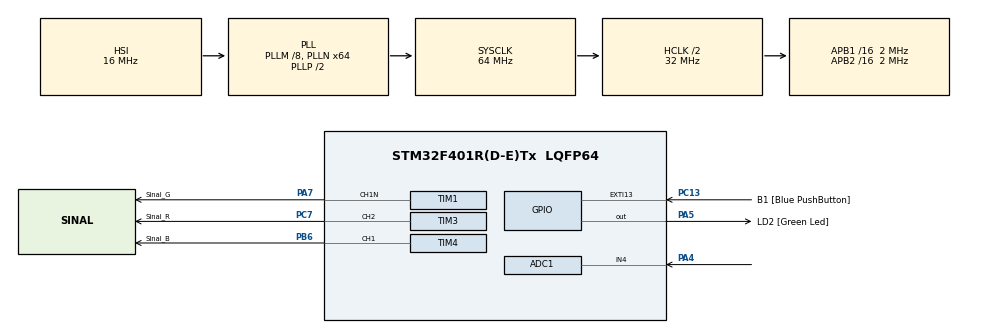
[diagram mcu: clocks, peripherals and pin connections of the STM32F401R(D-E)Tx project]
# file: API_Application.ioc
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ADC1.Channel-0\#ChannelRegularConversion=ADC_CHANNEL_4
ADC1.ClockPrescaler=ADC_CLOCK_SYNC_PCLK_DIV2
ADC1.NbrOfConversionFlag=1
ADC1.Rank-0\#ChannelRegularConversion=1
ADC1.SamplingTime-0\#ChannelRegularConversion=ADC_SAMPLETIME_3CYCLES
ADC1.master=1
Mcu.Family=STM32F4
Mcu.Name=STM32F401R(D-E)Tx
Mcu.Package=LQFP64
NVIC.PriorityGroup=NVIC_PRIORITYGROUP_0
PA13.GPIO_Label=TMS
PA13.Mode=Serial_Wire
PA13.Signal=SYS_JTMS-SWDIO
PA14.GPIO_Label=TCK
PA14.Mode=Serial_Wire
PA14.Signal=SYS_JTCK-SWCLK
PA3.GPIO_Label=USART_RX
PA3.GPIO_Mode=GPIO_MODE_AF_PP
PA3.GPIO_PuPd=GPIO_NOPULL
PA3.GPIO_Speed=GPIO_SPEED_FREQ_LOW
PA3.Signal=USART2_RX
PA4.Signal=ADCx_IN4
PA5.GPIO_Label=LD2 [Green Led]
PA5.GPIO_Mode=GPIO_MODE_OUTPUT_PP
PA5.GPIO_PuPd=GPIO_NOPULL
PA5.GPIO_Speed=GPIO_SPEED_FREQ_LOW
PA5.Signal=GPIO_Output
PA7.GPIO_Label=Sinal_G
PA7.Mode=PWM Generation1 CH1N
PA7.Signal=TIM1_CH1N
PB3.GPIO_Label=SWO
PB3.Signal=SYS_JTDO-SWO
PB6.GPIO_Label=Sinal_B
PB6.Signal=S_TIM4_CH1
PC13-ANTI_TAMP.GPIO_Label=B1 [Blue PushButton]
PC13-ANTI_TAMP.GPIO_ModeDefaultEXTI=GPIO_MODE_IT_FALLING
PC13-ANTI_TAMP.GPIO_PuPd=GPIO_NOPULL
PC13-ANTI_TAMP.Signal=GPXTI13
PC14-OSC32_IN.Mode=LSE-External-Oscillator
PC14-OSC32_IN.Signal=RCC_OSC32_IN
PC15-OSC32_OUT.Mode=LSE-External-Oscillator
PC15-OSC32_OUT.Signal=RCC_OSC32_OUT
PC7.GPIO_Label=Sinal_R
PC7.Signal=S_TIM3_CH2
PH0\ -\ OSC_IN.Mode=HSE-External-Clock-Source
PH0\ -\ OSC_IN.Signal=RCC_OSC_IN
PH1\ -\ OSC_OUT.Mode=HSE-External-Clock-Source
PH1\ -\ OSC_OUT.Signal=RCC_OSC_OUT
ProjectManager.HeapSize=0x200
ProjectManager.StackSize=0x400
ProjectManager.TargetToolchain=SW4STM32
RCC.48MHZClocksFreq_Value=18285714.285714287
RCC.AHBCLKDivider=RCC_SYSCLK_DIV2
RCC.AHBFreq_Value=32000000
RCC.APB1CLKDivider=RCC_HCLK_DIV16
RCC.APB1Freq_Value=2000000
RCC.APB1TimFreq_Value=4000000
RCC.APB2CLKDivider=RCC_HCLK_DIV16
RCC.APB2Freq_Value=2000000
RCC.APB2TimFreq_Value=4000000
RCC.CortexFreq_Value=32000000
RCC.HCLKFreq_Value=32000000
RCC.HSE_VALUE=8000000
RCC.HSI_VALUE=16000000
RCC.PLLM=8
RCC.PLLN=64
RCC.PLLQ=7
RCC.SYSCLKFreq_VALUE=64000000
RCC.SYSCLKSource=RCC_SYSCLKSOURCE_PLLCLK
RCC.VCOOutputFreq_Value=128000000
SH.ADCx_IN4.0=ADC1_IN4,IN4
SH.S_TIM3_CH2.0=TIM3_CH2,PWM Generation2 CH2
SH.S_TIM4_CH1.0=TIM4_CH1,PWM Generation1 CH1
TIM1.Channel-PWM\ Generation1\ CH1N=TIM_CHANNEL_1
TIM1.Period=125
TIM1.Prescaler=63
TIM1.Pulse-PWM\ Generation1\ CH1N=62
TIM3.Channel-PWM\ Generation2\ CH2=TIM_CHANNEL_2
TIM3.Period=125
TIM3.Prescaler=63
TIM3.Pulse-PWM\ Generation2\ CH2=62
TIM4.Channel-PWM\ Generation1\ CH1=TIM_CHANNEL_1
TIM4.Period=125
TIM4.Prescaler=63
TIM4.Pulse-PWM\ Generation1\ CH1=62
VP_TIM1_VS_ClockSourceINT.Mode=Internal
VP_TIM3_VS_ClockSourceINT.Mode=Internal
VP_TIM4_VS_ClockSourceINT.Mode=Internal
board=NUCLEO-F401RE

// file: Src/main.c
/* USER CODE BEGIN Header */
/**
  ******************************************************************************
  * @file           : main.c
  * @brief          : Main program body
  ******************************************************************************
  * @attention
  *
  * <h2><center>&copy; Copyright (c) 2020 STMicroelectronics.
  * All rights reserved.</center></h2>
  *
  * This software component is licensed by ST under BSD 3-Clause license,
  * the "License"; You may not use this file except in compliance with the
  * License. You may obtain a copy of the License at:
  *                        opensource.org/licenses/BSD-3-Clause
  *
  ******************************************************************************
  * This application uses an RGB LED (common cathode) and a LM35D sensor,
  * with STM32F4 microcontroller.
  *
  * Pinout:
  * A4 - LM35D
  * A7 - LED green
  * B6 - LED blue
  * C7 - LED red
  *
  */
/* USER CODE END Header */

#include "main.h"

/* USER CODE BEGIN Includes */
#include "LM35_API.h"
/* USER CODE END Includes */

ADC_HandleTypeDef hadc1;

TIM_HandleTypeDef htim1;
TIM_HandleTypeDef htim3;
TIM_HandleTypeDef htim4;

void SystemClock_Config(void);
static void MX_GPIO_Init(void);
static void MX_ADC1_Init(void);
static void MX_TIM1_Init(void);
static void MX_TIM3_Init(void);
static void MX_TIM4_Init(void);
/* USER CODE BEGIN PFP */
static void setPWM(TIM_HandleTypeDef, uint32_t, uint16_t, uint16_t);
static void setPWMG(TIM_HandleTypeDef, uint32_t, uint16_t, uint16_t);
/* USER CODE END PFP */

/* USER CODE BEGIN 0 */
float temp_init;
float temp;
/* USER CODE END 0 */

int main(void)
{

  /* MCU Configuration--------------------------------------------------------*/

  /* Reset of all peripherals, Initializes the Flash interface and the Systick. */
  HAL_Init();

  /* Configure the system clock */
  SystemClock_Config();

  /* Initialize all configured peripherals */
  MX_GPIO_Init();
  MX_ADC1_Init();
  MX_TIM1_Init();
  MX_TIM3_Init();
  MX_TIM4_Init();
  /* USER CODE BEGIN 2 */
  Init_API(&hadc1);
  // Read the initial temperature
  temp_init = Return_Temperature();
  /* USER CODE END 2 */

  /* Infinite loop */
  while (1)
  {

    /* USER CODE BEGIN 3 */
	  // Read the temperature
	  temp = Return_Temperature();
	  // If the current temperature is near the initial turn the RGB led green
	  if(Temperature_InGap(temp_init - 1, temp_init + 1) == 1){
	  		  setPWM(htim3, TIM_CHANNEL_2, 125, 0);
	  		  setPWM(htim4, TIM_CHANNEL_1, 125, 0);
	  		  setPWMG(htim1, TIM_CHANNEL_1, 125, 125);
	  }
	  // If the current temperature is lower than the initial turn the RGB led blue
	  else if(Temperature_LT(temp_init - 1)){
		  setPWM(htim3, TIM_CHANNEL_2, 125, 0);
		  setPWM(htim4, TIM_CHANNEL_1, 125, 125);
		  setPWMG(htim1, TIM_CHANNEL_1, 125, 0);
	  }
	  // If the current temperature is greater than the initial turn the RGB led red
	  else if(Temperature_GT(temp_init + 1)){
		  setPWM(htim3, TIM_CHANNEL_2, 125, 125);
		  setPWM(htim4, TIM_CHANNEL_1, 125, 0);
		  setPWMG(htim1, TIM_CHANNEL_1, 125, 0);
	  }
  /* USER CODE END 3 */
}

void SystemClock_Config(void)
{
  RCC_OscInitTypeDef RCC_OscInitStruct = {0};
  RCC_ClkInitTypeDef RCC_ClkInitStruct = {0};

  /** Configure the main internal regulator output voltage
  */
  __HAL_RCC_PWR_CLK_ENABLE();
  __HAL_PWR_VOLTAGESCALING_CONFIG(PWR_REGULATOR_VOLTAGE_SCALE2);
  /** Initializes the CPU, AHB and APB busses clocks
  */
  RCC_OscInitStruct.OscillatorType = RCC_OSCILLATORTYPE_HSI;
  RCC_OscInitStruct.HSIState = RCC_HSI_ON;
  RCC_OscInitStruct.HSICalibrationValue = RCC_HSICALIBRATION_DEFAULT;
  RCC_OscInitStruct.PLL.PLLState = RCC_PLL_ON;
  RCC_OscInitStruct.PLL.PLLSource = RCC_PLLSOURCE_HSI;
  RCC_OscInitStruct.PLL.PLLM = 8;
  RCC_OscInitStruct.PLL.PLLN = 64;
  RCC_OscInitStruct.PLL.PLLP = RCC_PLLP_DIV2;
  RCC_OscInitStruct.PLL.PLLQ = 7;
  if (HAL_RCC_OscConfig(&RCC_OscInitStruct) != HAL_OK)
  {
    Error_Handler();
  }
  /** Initializes the CPU, AHB and APB busses clocks
  */
  RCC_ClkInitStruct.ClockType = RCC_CLOCKTYPE_HCLK|RCC_CLOCKTYPE_SYSCLK
                              |RCC_CLOCKTYPE_PCLK1|RCC_CLOCKTYPE_PCLK2;
  RCC_ClkInitStruct.SYSCLKSource = RCC_SYSCLKSOURCE_PLLCLK;
  RCC_ClkInitStruct.AHBCLKDivider = RCC_SYSCLK_DIV2;
  RCC_ClkInitStruct.APB1CLKDivider = RCC_HCLK_DIV16;
  RCC_ClkInitStruct.APB2CLKDivider = RCC_HCLK_DIV16;

  if (HAL_RCC_ClockConfig(&RCC_ClkInitStruct, FLASH_LATENCY_1) != HAL_OK)
  {
    Error_Handler();
  }
}

static void MX_ADC1_Init(void)
{

  ADC_ChannelConfTypeDef sConfig = {0};

  /** Configure the global features of the ADC (Clock, Resolution, Data Alignment and number of conversion)
  */
  hadc1.Instance = ADC1;
  hadc1.Init.ClockPrescaler = ADC_CLOCK_SYNC_PCLK_DIV2;
  hadc1.Init.Resolution = ADC_RESOLUTION_12B;
  hadc1.Init.ScanConvMode = DISABLE;
  hadc1.Init.ContinuousConvMode = DISABLE;
  hadc1.Init.DiscontinuousConvMode = DISABLE;
  hadc1.Init.ExternalTrigConvEdge = ADC_EXTERNALTRIGCONVEDGE_NONE;
  hadc1.Init.ExternalTrigConv = ADC_SOFTWARE_START;
  hadc1.Init.DataAlign = ADC_DATAALIGN_RIGHT;
  hadc1.Init.NbrOfConversion = 1;
  hadc1.Init.DMAContinuousRequests = DISABLE;
  hadc1.Init.EOCSelection = ADC_EOC_SINGLE_CONV;
  if (HAL_ADC_Init(&hadc1) != HAL_OK)
  {
    Error_Handler();
  }
  /** Configure for the selected ADC regular channel its corresponding rank in the sequencer and its sample time.
  */
  sConfig.Channel = ADC_CHANNEL_4;
  sConfig.Rank = 1;
  sConfig.SamplingTime = ADC_SAMPLETIME_3CYCLES;
  if (HAL_ADC_ConfigChannel(&hadc1, &sConfig) != HAL_OK)
  {
    Error_Handler();
  }

}

static void MX_TIM1_Init(void)
{

  TIM_ClockConfigTypeDef sClockSourceConfig = {0};
  TIM_MasterConfigTypeDef sMasterConfig = {0};
  TIM_OC_InitTypeDef sConfigOC = {0};
  TIM_BreakDeadTimeConfigTypeDef sBreakDeadTimeConfig = {0};

  htim1.Instance = TIM1;
  htim1.Init.Prescaler = 63;
  htim1.Init.CounterMode = TIM_COUNTERMODE_UP;
  htim1.Init.Period = 125;
  htim1.Init.ClockDivision = TIM_CLOCKDIVISION_DIV1;
  htim1.Init.RepetitionCounter = 0;
  htim1.Init.AutoReloadPreload = TIM_AUTORELOAD_PRELOAD_DISABLE;
  if (HAL_TIM_Base_Init(&htim1) != HAL_OK)
  {
    Error_Handler();
  }
  sClockSourceConfig.ClockSource = TIM_CLOCKSOURCE_INTERNAL;
  if (HAL_TIM_ConfigClockSource(&htim1, &sClockSourceConfig) != HAL_OK)
  {
    Error_Handler();
  }
  if (HAL_TIM_PWM_Init(&htim1) != HAL_OK)
  {
    Error_Handler();
  }
  sMasterConfig.MasterOutputTrigger = TIM_TRGO_RESET;
  sMasterConfig.MasterSlaveMode = TIM_MASTERSLAVEMODE_DISABLE;
  if (HAL_TIMEx_MasterConfigSynchronization(&htim1, &sMasterConfig) != HAL_OK)
  {
    Error_Handler();
  }
  sConfigOC.OCMode = TIM_OCMODE_PWM1;
  sConfigOC.Pulse = 62;
  sConfigOC.OCPolarity = TIM_OCPOLARITY_HIGH;
  sConfigOC.OCNPolarity = TIM_OCNPOLARITY_HIGH;
  sConfigOC.OCFastMode = TIM_OCFAST_DISABLE;
  sConfigOC.OCIdleState = TIM_OCIDLESTATE_RESET;
  sConfigOC.OCNIdleState = TIM_OCNIDLESTATE_RESET;
  if (HAL_TIM_PWM_ConfigChannel(&htim1, &sConfigOC, TIM_CHANNEL_1) != HAL_OK)
  {
    Error_Handler();
  }
  sBreakDeadTimeConfig.OffStateRunMode = TIM_OSSR_DISABLE;
  sBreakDeadTimeConfig.OffStateIDLEMode = TIM_OSSI_DISABLE;
  sBreakDeadTimeConfig.LockLevel = TIM_LOCKLEVEL_OFF;
  sBreakDeadTimeConfig.DeadTime = 0;
  sBreakDeadTimeConfig.BreakState = TIM_BREAK_DISABLE;
  sBreakDeadTimeConfig.BreakPolarity = TIM_BREAKPOLARITY_HIGH;
  sBreakDeadTimeConfig.AutomaticOutput = TIM_AUTOMATICOUTPUT_DISABLE;
  if (HAL_TIMEx_ConfigBreakDeadTime(&htim1, &sBreakDeadTimeConfig) != HAL_OK)
  {
    Error_Handler();
  }
  HAL_TIM_MspPostInit(&htim1);

}

static void MX_TIM3_Init(void)
{

  TIM_ClockConfigTypeDef sClockSourceConfig = {0};
  TIM_MasterConfigTypeDef sMasterConfig = {0};
  TIM_OC_InitTypeDef sConfigOC = {0};

  htim3.Instance = TIM3;
  htim3.Init.Prescaler = 63;
  htim3.Init.CounterMode = TIM_COUNTERMODE_UP;
  htim3.Init.Period = 125;
  htim3.Init.ClockDivision = TIM_CLOCKDIVISION_DIV1;
  htim3.Init.AutoReloadPreload = TIM_AUTORELOAD_PRELOAD_DISABLE;
  if (HAL_TIM_Base_Init(&htim3) != HAL_OK)
  {
    Error_Handler();
  }
  sClockSourceConfig.ClockSource = TIM_CLOCKSOURCE_INTERNAL;
  if (HAL_TIM_ConfigClockSource(&htim3, &sClockSourceConfig) != HAL_OK)
  {
    Error_Handler();
  }
  if (HAL_TIM_PWM_Init(&htim3) != HAL_OK)
  {
    Error_Handler();
  }
  sMasterConfig.MasterOutputTrigger = TIM_TRGO_RESET;
  sMasterConfig.MasterSlaveMode = TIM_MASTERSLAVEMODE_DISABLE;
  if (HAL_TIMEx_MasterConfigSynchronization(&htim3, &sMasterConfig) != HAL_OK)
  {
    Error_Handler();
  }
  sConfigOC.OCMode = TIM_OCMODE_PWM1;
  sConfigOC.Pulse = 62;
  sConfigOC.OCPolarity = TIM_OCPOLARITY_HIGH;
  sConfigOC.OCFastMode = TIM_OCFAST_DISABLE;
  if (HAL_TIM_PWM_ConfigChannel(&htim3, &sConfigOC, TIM_CHANNEL_2) != HAL_OK)
  {
    Error_Handler();
  }
  HAL_TIM_MspPostInit(&htim3);

}

static void MX_TIM4_Init(void)
{

  TIM_ClockConfigTypeDef sClockSourceConfig = {0};
  TIM_MasterConfigTypeDef sMasterConfig = {0};
  TIM_OC_InitTypeDef sConfigOC = {0};

  htim4.Instance = TIM4;
  htim4.Init.Prescaler = 63;
  htim4.Init.CounterMode = TIM_COUNTERMODE_UP;
  htim4.Init.Period = 125;
  htim4.Init.ClockDivision = TIM_CLOCKDIVISION_DIV1;
  htim4.Init.AutoReloadPreload = TIM_AUTORELOAD_PRELOAD_DISABLE;
  if (HAL_TIM_Base_Init(&htim4) != HAL_OK)
  {
    Error_Handler();
  }
  sClockSourceConfig.ClockSource = TIM_CLOCKSOURCE_INTERNAL;
  if (HAL_TIM_ConfigClockSource(&htim4, &sClockSourceConfig) != HAL_OK)
  {
    Error_Handler();
  }
  if (HAL_TIM_PWM_Init(&htim4) != HAL_OK)
  {
    Error_Handler();
  }
  sMasterConfig.MasterOutputTrigger = TIM_TRGO_RESET;
  sMasterConfig.MasterSlaveMode = TIM_MASTERSLAVEMODE_DISABLE;
  if (HAL_TIMEx_MasterConfigSynchronization(&htim4, &sMasterConfig) != HAL_OK)
  {
    Error_Handler();
  }
  sConfigOC.OCMode = TIM_OCMODE_PWM1;
  sConfigOC.Pulse = 62;
  sConfigOC.OCPolarity = TIM_OCPOLARITY_HIGH;
  sConfigOC.OCFastMode = TIM_OCFAST_DISABLE;
  if (HAL_TIM_PWM_ConfigChannel(&htim4, &sConfigOC, TIM_CHANNEL_1) != HAL_OK)
  {
    Error_Handler();
  }
  HAL_TIM_MspPostInit(&htim4);

}

static void MX_GPIO_Init(void)
{
  GPIO_InitTypeDef GPIO_InitStruct = {0};

  /* GPIO Ports Clock Enable */
  __HAL_RCC_GPIOC_CLK_ENABLE();
  __HAL_RCC_GPIOH_CLK_ENABLE();
  __HAL_RCC_GPIOA_CLK_ENABLE();
  __HAL_RCC_GPIOB_CLK_ENABLE();

  /*Configure GPIO pin Output Level */
  HAL_GPIO_WritePin(LD2_GPIO_Port, LD2_Pin, GPIO_PIN_RESET);

  /*Configure GPIO pin : B1_Pin */
  GPIO_InitStruct.Pin = B1_Pin;
  GPIO_InitStruct.Mode = GPIO_MODE_IT_FALLING;
  GPIO_InitStruct.Pull = GPIO_NOPULL;
  HAL_GPIO_Init(B1_GPIO_Port, &GPIO_InitStruct);

  /*Configure GPIO pin : USART_RX_Pin */
  GPIO_InitStruct.Pin = USART_RX_Pin;
  GPIO_InitStruct.Mode = GPIO_MODE_AF_PP;
  GPIO_InitStruct.Pull = GPIO_NOPULL;
  GPIO_InitStruct.Speed = GPIO_SPEED_FREQ_LOW;
  GPIO_InitStruct.Alternate = GPIO_AF7_USART2;
  HAL_GPIO_Init(USART_RX_GPIO_Port, &GPIO_InitStruct);

  /*Configure GPIO pin : LD2_Pin */
  GPIO_InitStruct.Pin = LD2_Pin;
  GPIO_InitStruct.Mode = GPIO_MODE_OUTPUT_PP;
  GPIO_InitStruct.Pull = GPIO_NOPULL;
  GPIO_InitStruct.Speed = GPIO_SPEED_FREQ_LOW;
  HAL_GPIO_Init(LD2_GPIO_Port, &GPIO_InitStruct);

}

/* USER CODE BEGIN 4 */
void setPWM(TIM_HandleTypeDef timer, uint32_t channel, uint16_t period, uint16_t pulse){
	HAL_TIM_PWM_Stop(&timer, channel);
	TIM_OC_InitTypeDef sConfigOC;
	timer.Init.Period = period;
	HAL_TIM_PWM_Init(&timer);

	sConfigOC.OCMode = TIM_OCMODE_PWM1;
	sConfigOC.Pulse = pulse;
	sConfigOC.OCPolarity = TIM_OCPOLARITY_HIGH;
	sConfigOC.OCFastMode = TIM_OCFAST_DISABLE;

	HAL_TIM_PWM_ConfigChannel(&timer, &sConfigOC, channel);
	HAL_TIM_PWM_Start(&timer, channel);
}

void setPWMG(TIM_HandleTypeDef timer, uint32_t channel, uint16_t period, uint16_t pulse){
	 HAL_TIMEx_PWMN_Stop (&timer, channel);
	 TIM_OC_InitTypeDef sConfigOC;
	 timer.Init.Period = period; // set the period duration
	 HAL_TIM_PWM_Init(&timer); // reinitialize with new period value

	 sConfigOC.OCMode = TIM_OCMODE_PWM1;
	 sConfigOC.Pulse = pulse;
	 sConfigOC.OCPolarity = TIM_OCPOLARITY_HIGH;
	 sConfigOC.OCNPolarity = TIM_OCNPOLARITY_HIGH;
	 sConfigOC.OCFastMode = TIM_OCFAST_DISABLE;
	 sConfigOC.OCIdleState = TIM_OCIDLESTATE_RESET;
	 sConfigOC.OCNIdleState = TIM_OCNIDLESTATE_RESET;

	 HAL_TIM_PWM_ConfigChannel(&timer, &sConfigOC, channel);
	 HAL_TIMEx_PWMN_Start (&timer, channel);
}
/* USER CODE END 4 */

void Error_Handler(void)
{
}

/************************ (C) COPYRIGHT STMicroelectronics *****END OF FILE****/
